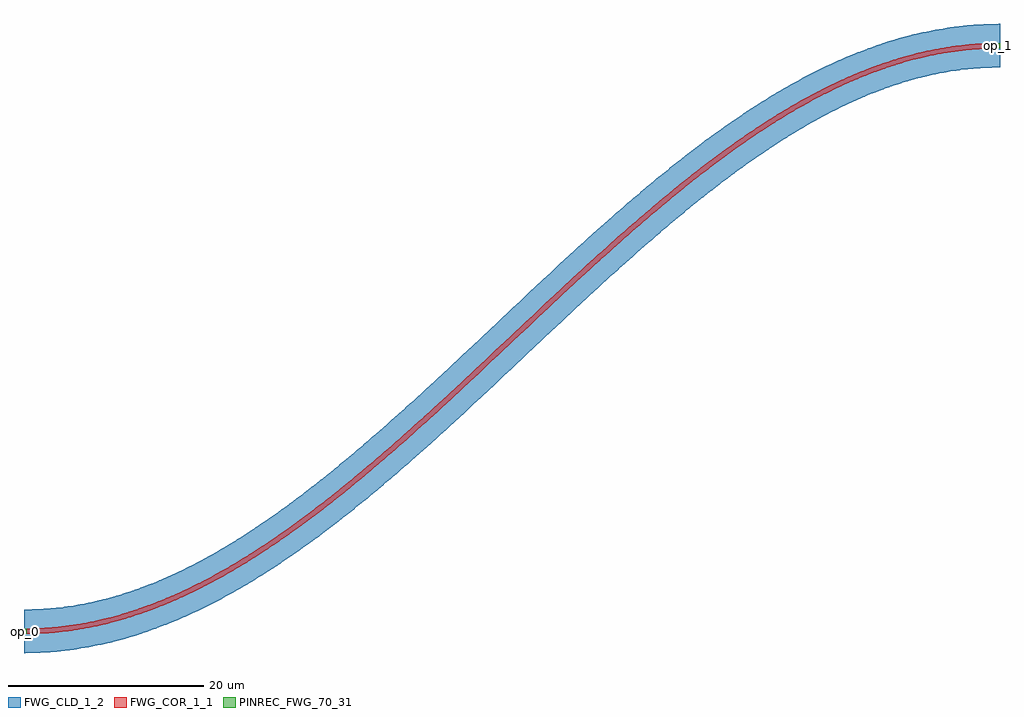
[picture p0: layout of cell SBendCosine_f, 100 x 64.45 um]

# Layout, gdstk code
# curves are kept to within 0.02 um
import gdstk
lib = gdstk.Library(unit=1e-6, precision=1e-09)
def R(c, l, rs):  # rectangles x0, y0, x1, y1
    for r in rs: c.add(gdstk.rectangle(r[:2], r[2:], *l))
def P(c, l, *ps):  # polygons
    for p in ps: c.add(gdstk.Polygon(p, *l))
FWG_COR_1_1 = (1, 1)
FWG_CLD_1_2 = (1, 2)
PINREC_FWG_70_31 = (70, 31)

c_wg = lib.new_cell('wg')
P(c_wg, FWG_COR_1_1, [(0,-29.725),(1.55,-29.689),(3.1,-29.582),(4.65,-29.403),(6.103,-29.171),(7.751,-28.833),(9.302,-28.443),(10.806,-28),(12.407,-27.458),(13.959,-26.865),(15.513,-26.206),(17.068,-25.484),(18.622,-24.701),(20.567,-23.636),(22.123,-22.72),(24.069,-21.497),(25.626,-20.459),(28.353,-18.524),(31.275,-16.298),(34.589,-13.605),(37.71,-10.933),(40.051,-8.856),(43.563,-5.651),(53.718,3.873),(57.627,7.492),(61.146,10.659),(64.764,13.781),(68.189,16.576),(69.951,17.942),(71.615,19.183),(73.476,20.509),(74.847,21.442),(76.611,22.585),(78.082,23.485),(79.553,24.336),(81.122,25.188),(83.674,26.443),(86.228,27.531),(87.799,28.115),(89.078,28.54),(90.159,28.864),(91.733,29.277),(93.307,29.62),(94.488,29.83),(96.062,30.048),(97.44,30.179),(98.818,30.254),(100,30.275),(100,29.725),(98.45,29.689),(96.9,29.582),(95.156,29.376),(93.412,29.08),(91.667,28.695),(90.019,28.251),(88.176,27.663),(86.428,27.019),(84.875,26.377),(83.321,25.671),(81.961,25.002),(80.308,24.127),(78.752,23.242),(77.293,22.362),(75.444,21.178),(73.984,20.192),(71.453,18.381),(68.432,16.067),(65.411,13.605),(62.29,10.933),(59.949,8.856),(56.437,5.651),(46.282,-3.873),(42.373,-7.492),(38.854,-10.659),(35.236,-13.781),(31.811,-16.576),(30.049,-17.942),(28.385,-19.183),(26.524,-20.509),(25.153,-21.442),(23.389,-22.585),(21.918,-23.485),(20.447,-24.336),(18.878,-25.188),(17.504,-25.884),(15.737,-26.709),(14.166,-27.375),(12.79,-27.904),(11.218,-28.445),(9.841,-28.864),(8.169,-29.3),(6.3,-29.694),(4.725,-29.948),(2.953,-30.147),(1.575,-30.239),(0,-30.275)])
P(c_wg, FWG_CLD_1_2, [(0,-27.775),(1.46,-27.741),(2.92,-27.64),(4.473,-27.459),(5.802,-27.244),(7.319,-26.931),(8.788,-26.562),(10.264,-26.126),(12.07,-25.505),(13.791,-24.826),(15.281,-24.172),(16.967,-23.359),(18.472,-22.571),(19.979,-21.725),(21.679,-20.705),(23.481,-19.551),(24.908,-18.587),(27.578,-16.672),(30.358,-14.538),(33.579,-11.908),(36.812,-9.126),(39.523,-6.706),(42.24,-4.219),(52.19,5.114),(56.311,8.932),(60.25,12.468),(63.51,15.274),(67.178,18.262),(70.565,20.831),(72.162,21.97),(73.766,23.065),(75.371,24.108),(76.981,25.099),(79.813,26.701),(81.233,27.434),(82.654,28.12),(84.285,28.844),(85.519,29.348),(87.153,29.954),(88.492,30.4),(89.628,30.74),(91.173,31.148),(92.516,31.45),(94.177,31.755),(95.428,31.935),(97.086,32.107),(98.335,32.187),(100,32.225),(100,27.775),(98.54,27.741),(96.897,27.623),(95.256,27.419),(93.422,27.093),(91.583,26.662),(90.105,26.241),(88.628,25.756),(86.771,25.057),(84.902,24.255),(83.408,23.546),(81.528,22.571),(80.021,21.725),(78.131,20.587),(76.234,19.362),(74.33,18.055),(72.422,16.672),(70.026,14.841),(67.817,13.066),(65.12,10.804),(62.415,8.443),(60.09,6.355),(56.982,3.498),(47.81,-5.114),(44.082,-8.572),(40.145,-12.12),(36.986,-14.856),(35.203,-16.345),(33.169,-17.988),(29.835,-20.538),(27.838,-21.97),(26.234,-23.065),(24.629,-24.108),(23.019,-25.099),(20.591,-26.484),(18.156,-27.735),(15.715,-28.844),(13.458,-29.736),(10.993,-30.558),(8.827,-31.148),(6.444,-31.65),(4.057,-31.997),(2.078,-32.165),(0,-32.225)])
R(c_wg, PINREC_FWG_70_31, [(0,-30.275,0.3,-29.725), (99.7,29.725,100,30.275)])
c_wg.add(gdstk.Label('op_0', (0.15,-30), layer=70, texttype=41))
c_wg.add(gdstk.Label('op_1', (99.85,30), layer=70, texttype=41))

sbendcosine_f = lib.new_cell('SBendCosine_f')
R(sbendcosine_f, PINREC_FWG_70_31, [(0,-30.275,0.3,-29.725), (99.7,29.725,100,30.275)])
sbendcosine_f.add(gdstk.Reference(c_wg, (0,0)))
sbendcosine_f.add(gdstk.Label('op_0', (0.15,-30), layer=70, texttype=41))
sbendcosine_f.add(gdstk.Label('op_1', (99.85,30), layer=70, texttype=41))

lib.write_gds('SBendCosine_f.gds')
